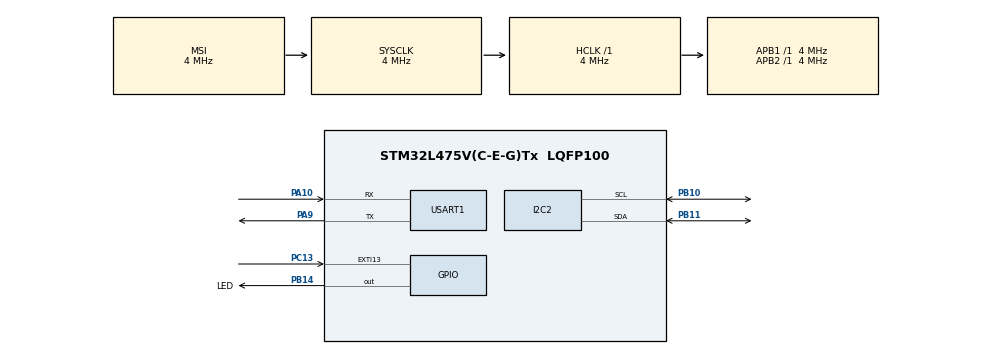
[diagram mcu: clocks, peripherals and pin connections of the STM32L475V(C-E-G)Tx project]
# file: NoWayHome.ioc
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FREERTOS.INCLUDE_vTaskDelayUntil=1
FREERTOS.Tasks01=defaultTask,0,128,StartDefaultTask,Default,NULL,Dynamic,NULL,NULL;BlinkLed,0,128,StartBlinkLed,Default,NULL,Dynamic,NULL,NULL;RnT_Sensor,-1,512,Start_RnT_Sensor,Default,NULL,Dynamic,NULL,NULL;Int_But,1,128,StartInt_But,Default,NULL,Dynamic,NULL,NULL;Fire_Fluxer,0,128,StartFire_Fluxer,Default,NULL,Dynamic,NULL,NULL;Mode_Init,0,128,StartMode_Init,Default,NULL,Dynamic,NULL,NULL
FREERTOS.configTOTAL_HEAP_SIZE=6000
FREERTOS.configUSE_NEWLIB_REENTRANT=1
Mcu.Family=STM32L4
Mcu.Name=STM32L475V(C-E-G)Tx
Mcu.Package=LQFP100
NVIC.EXTI15_10_IRQn=true\:5\:0\:false\:false\:true\:true\:true\:true\:true
NVIC.PriorityGroup=NVIC_PRIORITYGROUP_4
NVIC.TIM1_UP_TIM16_IRQn=true\:15\:0\:false\:false\:true\:false\:false\:true\:true
NVIC.TimeBase=TIM1_UP_TIM16_IRQn
NVIC.TimeBaseIP=TIM1
PA10.Mode=Asynchronous
PA10.Signal=USART1_RX
PA9.Mode=Asynchronous
PA9.Signal=USART1_TX
PB10.Mode=I2C
PB10.Signal=I2C2_SCL
PB11.Mode=I2C
PB11.Signal=I2C2_SDA
PB14.GPIO_Label=LED
PB14.Signal=GPIO_Output
PC13.Signal=GPXTI13
PC14-OSC32_IN\ (PC14).Mode=LSE-External-Oscillator
PC14-OSC32_IN\ (PC14).Signal=RCC_OSC32_IN
PC15-OSC32_OUT\ (PC15).Mode=LSE-External-Oscillator
PC15-OSC32_OUT\ (PC15).Signal=RCC_OSC32_OUT
PH0-OSC_IN\ (PH0).Mode=HSE-External-Oscillator
PH0-OSC_IN\ (PH0).Signal=RCC_OSC_IN
PH1-OSC_OUT\ (PH1).Mode=HSE-External-Oscillator
PH1-OSC_OUT\ (PH1).Signal=RCC_OSC_OUT
ProjectManager.HeapSize=0x200
ProjectManager.StackSize=0x400
ProjectManager.TargetToolchain=STM32CubeIDE
RCC.AHBFreq_Value=4000000
RCC.APB1Freq_Value=4000000
RCC.APB1TimFreq_Value=4000000
RCC.APB2Freq_Value=4000000
RCC.APB2TimFreq_Value=4000000
RCC.CortexFreq_Value=4000000
RCC.HCLKFreq_Value=4000000
RCC.HSE_VALUE=8000000
RCC.HSI_VALUE=16000000
RCC.MSI_VALUE=4000000
RCC.PLLN=16
RCC.SYSCLKFreq_VALUE=4000000
RCC.VCOOutputFreq_Value=64000000
USART1.VirtualMode-Asynchronous=VM_ASYNC
VP_FREERTOS_VS_CMSIS_V1.Mode=CMSIS_V1
VP_SYS_VS_tim1.Mode=TIM1
board=custom

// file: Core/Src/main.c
/* USER CODE BEGIN Header */
/**
 ******************************************************************************
 * @file           : main.c
 * @brief          : Main program body
 * @authors		   : Dominic Olimid (A0261190M) Ghaith Ghadri (A0260730N)
 ******************************************************************************
 * @attention
 *
 * Copyright (c) 2022 STMicroelectronics.
 * All rights reserved.
 *
 * This software is licensed under terms that can be found in the LICENSE file
 * in the root directory of this software component.
 * If no LICENSE file comes with this software, it is provided AS-IS.
 *
 ******************************************************************************
 */
/* USER CODE END Header */
#include "main.h"
#include "cmsis_os.h"

/* USER CODE BEGIN Includes */
#include "sensorIO.h"
#include "stdio.h"
#include "string.h"
#include "helper.h"
/* USER CODE END Includes */

I2C_HandleTypeDef hi2c2;

UART_HandleTypeDef huart1;

osThreadId defaultTaskHandle;
osThreadId BlinkLedHandle;
osThreadId RnT_SensorHandle;
osThreadId Int_ButHandle;
osThreadId Fire_FluxerHandle;
osThreadId Mode_InitHandle;
/* USER CODE BEGIN PV */
int mode = 0; // 0 corresponds to exploration and 1 to battle
int state = 0; // 0 corresponds to normal and 1 to warning
int button_press = 0; //1 means button has been pressed
int battery_level = 10;

TaskHandle_t Int_ButHandle = NULL;
/* USER CODE END PV */

void SystemClock_Config(void);
static void MX_GPIO_Init(void);
static void MX_I2C2_Init(void);
static void MX_USART1_UART_Init(void);
void StartDefaultTask(void const * argument);
void StartBlinkLed(void const * argument);
void Start_RnT_Sensor(void const * argument);
void StartInt_But(void const * argument);
void StartFire_Fluxer(void const * argument);
void StartMode_Init(void const * argument);

/* USER CODE BEGIN PFP */
//#ifdef __GNUC__
//#define PUTCHAR_PROTOTYPE int __io_putchar(int ch)
//#else
//#define PUTCHAR_PROTOTYPE int fputc(int ch, FILE *f)
//#endif
//
//PUTCHAR_PROTOTYPE
//{
//  HAL_UART_Transmit(&huart1, (uint8_t *)&ch, 1, HAL_MAX_DELAY);
//  return ch;
//}

/* USER CODE END PFP */

/* USER CODE BEGIN 0 */
//extern void initialise_monitor_handles(void);
/* USER CODE END 0 */

int main(void)
{
	/* USER CODE BEGIN 1 */
	//	initialise_monitor_handles();
	/* USER CODE END 1 */

	/* MCU Configuration--------------------------------------------------------*/

	/* Reset of all peripherals, Initializes the Flash interface and the Systick. */
	HAL_Init();

	/* Configure the system clock */
	SystemClock_Config();

	/* Initialize all configured peripherals */
	MX_GPIO_Init();
	MX_I2C2_Init();
	MX_USART1_UART_Init();
	/* USER CODE BEGIN 2 */
	BSP_ACCELERO_Init();
	BSP_TSENSOR_Init();
	BSP_GYRO_Init();
	BSP_PSENSOR_Init();
	BSP_MAGNETO_Init();
	BSP_HSENSOR_Init();
	/* USER CODE END 2 */

	/* Create the thread(s) */
	/* definition and creation of defaultTask */
	osThreadDef(defaultTask, StartDefaultTask, osPriorityNormal, 0, 128);
	defaultTaskHandle = osThreadCreate(osThread(defaultTask), NULL);

	/* definition and creation of BlinkLed */
	osThreadDef(BlinkLed, StartBlinkLed, osPriorityNormal, 0, 128);
	BlinkLedHandle = osThreadCreate(osThread(BlinkLed), NULL);

	/* definition and creation of RnT_Sensor */
	osThreadDef(RnT_Sensor, Start_RnT_Sensor, osPriorityBelowNormal, 0, 512);
	RnT_SensorHandle = osThreadCreate(osThread(RnT_Sensor), NULL);

	/* definition and creation of Int_But */
	osThreadDef(Int_But, StartInt_But, osPriorityAboveNormal, 0, 128);
	Int_ButHandle = osThreadCreate(osThread(Int_But), NULL);

	/* definition and creation of Fire_Fluxer */
	osThreadDef(Fire_Fluxer, StartFire_Fluxer, osPriorityNormal, 0, 128);
	Fire_FluxerHandle = osThreadCreate(osThread(Fire_Fluxer), NULL);

	/* definition and creation of Mode_Init */
	osThreadDef(Mode_Init, StartMode_Init, osPriorityNormal, 0, 128);
	Mode_InitHandle = osThreadCreate(osThread(Mode_Init), NULL);

	/* Start scheduler */
	osKernelStart();

	/* We should never get here as control is now taken by the scheduler */
	/* Infinite loop */
	while (1)
	{

	}
}

void SystemClock_Config(void)
{
	RCC_OscInitTypeDef RCC_OscInitStruct = {0};
	RCC_ClkInitTypeDef RCC_ClkInitStruct = {0};

	/** Configure the main internal regulator output voltage
	 */
	if (HAL_PWREx_ControlVoltageScaling(PWR_REGULATOR_VOLTAGE_SCALE1) != HAL_OK)
	{
		Error_Handler();
	}

	/** Configure LSE Drive Capability
	 */
	HAL_PWR_EnableBkUpAccess();
	__HAL_RCC_LSEDRIVE_CONFIG(RCC_LSEDRIVE_LOW);

	/** Initializes the RCC Oscillators according to the specified parameters
	 * in the RCC_OscInitTypeDef structure.
	 */
	RCC_OscInitStruct.OscillatorType = RCC_OSCILLATORTYPE_LSE|RCC_OSCILLATORTYPE_MSI;
	RCC_OscInitStruct.LSEState = RCC_LSE_ON;
	RCC_OscInitStruct.MSIState = RCC_MSI_ON;
	RCC_OscInitStruct.MSICalibrationValue = 0;
	RCC_OscInitStruct.MSIClockRange = RCC_MSIRANGE_6;
	RCC_OscInitStruct.PLL.PLLState = RCC_PLL_NONE;
	if (HAL_RCC_OscConfig(&RCC_OscInitStruct) != HAL_OK)
	{
		Error_Handler();
	}

	/** Initializes the CPU, AHB and APB buses clocks
	 */
	RCC_ClkInitStruct.ClockType = RCC_CLOCKTYPE_HCLK|RCC_CLOCKTYPE_SYSCLK
			|RCC_CLOCKTYPE_PCLK1|RCC_CLOCKTYPE_PCLK2;
	RCC_ClkInitStruct.SYSCLKSource = RCC_SYSCLKSOURCE_MSI;
	RCC_ClkInitStruct.AHBCLKDivider = RCC_SYSCLK_DIV1;
	RCC_ClkInitStruct.APB1CLKDivider = RCC_HCLK_DIV1;
	RCC_ClkInitStruct.APB2CLKDivider = RCC_HCLK_DIV1;

	if (HAL_RCC_ClockConfig(&RCC_ClkInitStruct, FLASH_LATENCY_0) != HAL_OK)
	{
		Error_Handler();
	}

	/** Enable MSI Auto calibration
	 */
	HAL_RCCEx_EnableMSIPLLMode();
}

static void MX_I2C2_Init(void)
{

	hi2c2.Instance = I2C2;
	hi2c2.Init.Timing = 0x00000E14;
	hi2c2.Init.OwnAddress1 = 0;
	hi2c2.Init.AddressingMode = I2C_ADDRESSINGMODE_7BIT;
	hi2c2.Init.DualAddressMode = I2C_DUALADDRESS_DISABLE;
	hi2c2.Init.OwnAddress2 = 0;
	hi2c2.Init.OwnAddress2Masks = I2C_OA2_NOMASK;
	hi2c2.Init.GeneralCallMode = I2C_GENERALCALL_DISABLE;
	hi2c2.Init.NoStretchMode = I2C_NOSTRETCH_DISABLE;
	if (HAL_I2C_Init(&hi2c2) != HAL_OK)
	{
		Error_Handler();
	}

	/** Configure Analogue filter
	 */
	if (HAL_I2CEx_ConfigAnalogFilter(&hi2c2, I2C_ANALOGFILTER_ENABLE) != HAL_OK)
	{
		Error_Handler();
	}

	/** Configure Digital filter
	 */
	if (HAL_I2CEx_ConfigDigitalFilter(&hi2c2, 0) != HAL_OK)
	{
		Error_Handler();
	}

}

static void MX_USART1_UART_Init(void)
{

	/* USER CODE BEGIN USART1_Init 0 */
	//    __HAL_RCC_GPIOB_CLK_ENABLE();
	GPIO_InitTypeDef GPIO_InitStruct = {0};
	GPIO_InitStruct.Alternate = GPIO_AF7_USART1;
	GPIO_InitStruct.Pin = GPIO_PIN_7|GPIO_PIN_6;
	GPIO_InitStruct.Mode = GPIO_MODE_AF_PP;
	GPIO_InitStruct.Pull = GPIO_NOPULL;
	GPIO_InitStruct.Speed = GPIO_SPEED_FREQ_VERY_HIGH;
	HAL_GPIO_Init(GPIOB, &GPIO_InitStruct);
	/* USER CODE END USART1_Init 0 */

	huart1.Instance = USART1;
	huart1.Init.BaudRate = 115200;
	huart1.Init.WordLength = UART_WORDLENGTH_8B;
	huart1.Init.StopBits = UART_STOPBITS_1;
	huart1.Init.Parity = UART_PARITY_NONE;
	huart1.Init.Mode = UART_MODE_TX_RX;
	huart1.Init.HwFlowCtl = UART_HWCONTROL_NONE;
	huart1.Init.OverSampling = UART_OVERSAMPLING_16;
	huart1.Init.OneBitSampling = UART_ONE_BIT_SAMPLE_DISABLE;
	huart1.AdvancedInit.AdvFeatureInit = UART_ADVFEATURE_NO_INIT;
	if (HAL_UART_Init(&huart1) != HAL_OK)
	{
		Error_Handler();
	}

}

static void MX_GPIO_Init(void)
{
	GPIO_InitTypeDef GPIO_InitStruct = {0};

	/* GPIO Ports Clock Enable */
	__HAL_RCC_GPIOC_CLK_ENABLE();
	__HAL_RCC_GPIOH_CLK_ENABLE();
	__HAL_RCC_GPIOB_CLK_ENABLE();
	__HAL_RCC_GPIOA_CLK_ENABLE();

	/*Configure GPIO pin Output Level */
	HAL_GPIO_WritePin(LED_GPIO_Port, LED_Pin, GPIO_PIN_RESET);

	/*Configure GPIO pin : PC13 */
	GPIO_InitStruct.Pin = GPIO_PIN_13;
	GPIO_InitStruct.Mode = GPIO_MODE_IT_RISING;
	GPIO_InitStruct.Pull = GPIO_NOPULL;
	HAL_GPIO_Init(GPIOC, &GPIO_InitStruct);

	/*Configure GPIO pin : LED_Pin */
	GPIO_InitStruct.Pin = LED_Pin;
	GPIO_InitStruct.Mode = GPIO_MODE_OUTPUT_PP;
	GPIO_InitStruct.Pull = GPIO_NOPULL;
	GPIO_InitStruct.Speed = GPIO_SPEED_FREQ_LOW;
	HAL_GPIO_Init(LED_GPIO_Port, &GPIO_InitStruct);

	/* EXTI interrupt init*/
	HAL_NVIC_SetPriority(EXTI15_10_IRQn, 5, 0);
	HAL_NVIC_EnableIRQ(EXTI15_10_IRQn);

}

void StartDefaultTask(void const * argument)
{
	/* USER CODE BEGIN 5 */
	const portTickType freq_button_sleep = 1200;
	/* Infinite loop */
	for(;;)
	{
		if(button_press > 0)
		{
			vTaskDelay(freq_button_sleep);
			vTaskResume(Int_ButHandle);
		}
		vTaskSuspend(NULL);
	}
	/* USER CODE END 5 */
}

void StartBlinkLed(void const * argument)
{
	/* USER CODE BEGIN StartBlinkLed */
	portTickType lastRun;
	const portTickType frequency_battle = 500;
	const portTickType frequency_warning = 166;
	lastRun = xTaskGetTickCount();
	/* Infinite loop */
	for(;;)
	{
		if(mode == 1 && state == 0)
		{
			HAL_GPIO_TogglePin(GPIOB, LED_Pin);
			vTaskDelayUntil(&lastRun,frequency_battle);
		}
		else if(state == 1)
		{
			HAL_GPIO_TogglePin(GPIOB, LED_Pin);
			vTaskDelayUntil(&lastRun,frequency_warning);
		}
		else
		{
			HAL_GPIO_WritePin(GPIOB, LED_Pin, GPIO_PIN_SET);
			vTaskDelayUntil(&lastRun,frequency_warning);
		}

	}
	/* USER CODE END StartBlinkLed */
}

void Start_RnT_Sensor(void const * argument)
{
	/* USER CODE BEGIN Start_RnT_Sensor */
	portTickType lastRun;
	const portTickType frequency_transmit = 1000;
	lastRun = xTaskGetTickCount();

	char message_exploration[90];
	char message_battle1[64];
	char message_battle2[90];
	char message_warning[32];
	char message_battery[32];

	float accel_data[3];
	float mag_data[3];
	float gyro_data[3];
	float temp_data[1];
	float pres_data[1];
	float hum_data[1];

	int threshold_status[6] = {0};
	int nb_exceeded[1] = {0};
	float threshold_values[6] = {20, 500, 100, 15, 1013, 35};

	/* Infinite loop */
	for(;;)
	{
		if(mode == 0 && state == 0)
		{
			Read_Gyro(gyro_data);
			Read_Hum(hum_data);
			Read_Mag(mag_data);
			Read_Pres(pres_data);

			sprintf(message_exploration, "Gz: %2.2f(deg/s), Mx: %2.2f (g), My: %2.2f (g), P: %2.2f (hPa), H: %2.2f (%%rH)\r\n", gyro_data[2], mag_data[0], mag_data[1], pres_data[0], hum_data[0]);
			HAL_UART_Transmit(&huart1, (uint8_t*)message_exploration, strlen(message_exploration), 0xFF);

			float sensor_reading[6] = {0, gyro_data[2], hum_data[0], mag_data[2], pres_data[0], 0};
			Check_Threshold(nb_exceeded, sensor_reading, threshold_values, threshold_status);

			if(nb_exceeded[0] >= 2)
			{
				state = 1;
				nb_exceeded[0]=0;
				memset(threshold_status, 0, sizeof(threshold_status));
			}

			vTaskDelayUntil(&lastRun,frequency_transmit);

		}
		else if(mode == 1 && state == 0)
		{
			Read_Acc(accel_data);
			Read_Gyro(gyro_data);
			Read_Hum(hum_data);
			Read_Mag(mag_data);
			Read_Pres(pres_data);
			Read_Temp(temp_data);

			sprintf(message_battle1, "T:%2.2f (deg C), P: %2.2f (hPa), H: %2.2f (%%rH), ", temp_data[0],  pres_data[0],  hum_data[0]);
			HAL_UART_Transmit(&huart1, (uint8_t*)message_battle1, strlen(message_battle1), 0xFFFF);
			sprintf(message_battle2, "Az: %2.2f (m/s^2), Gz: %2.2f(deg/s), Mx: %2.2f (g), My: %2.2f (g)\r", accel_data[2], gyro_data[2], mag_data[0], mag_data[1]);
			HAL_UART_Transmit(&huart1, (uint8_t*)message_battle2, strlen(message_battle2), 0xFFFF);
			sprintf(message_battery, "Battery level: %d/10\r\n", battery_level);
			HAL_UART_Transmit(&huart1, (uint8_t*)message_battery, strlen(message_battery), 0xFFFF);

			float sensor_reading[6] = {accel_data[2], gyro_data[2], hum_data[0], mag_data[2], pres_data[0], temp_data[0]};
			Check_Threshold(nb_exceeded, sensor_reading, threshold_values, threshold_status);

			if(nb_exceeded[0] >= 1)
			{
				state = 1;
				nb_exceeded[0]=0;
				memset(threshold_status, 0, sizeof(threshold_status));
			}

			vTaskDelayUntil(&lastRun,frequency_transmit);
		}
		else
		{
			if(mode == 0)
			{
				sprintf(message_warning, "WARNING mode: SOS\r\n");
			}
			else
			{
				sprintf(message_warning, "BATTLE mode: SOS\r\n");
			}

			HAL_UART_Transmit(&huart1, (uint8_t*)message_warning, strlen(message_warning), 0xFFFF);
			vTaskDelayUntil(&lastRun,frequency_transmit);
		}
	}
	/* USER CODE END Start_RnT_Sensor */
}

void StartInt_But(void const * argument)
{
	/* USER CODE BEGIN StartInt_But */
	portTickType lastRun;
	lastRun = 0;
	/* Infinite loop */
	for(;;)
	{
		vTaskSuspend(NULL);
		if((xTaskGetTickCount() - lastRun) > 1000)
		{
			if(button_press == 0)
			{
				button_press = 1;
				lastRun = xTaskGetTickCount();
				vTaskResume(defaultTaskHandle);
			}
			else if(button_press == 1 && state == 1)
			{
				state = 0;
				button_press = 0;
			}
			else if(button_press == 2 && state == 0)
			{
				mode = !mode;
				button_press = 0;
				vTaskResume(Mode_InitHandle);
			}
			else if(button_press == 1 && state == 0 && battery_level < 10)
			{
				battery_level += 1;
			}
			else
			{
				button_press = 0;
			}
		}
		else
		{
			button_press += 1;
		}
	}
	/* USER CODE END StartInt_But */
}

void StartFire_Fluxer(void const * argument)
{
	/* USER CODE BEGIN StartFire_Fluxer */
	portTickType lastRun;
	const portTickType frequency_fire = 5000;
	lastRun = xTaskGetTickCount();

	char message_fluxer[40];
	sprintf(message_fluxer, "Fluxer is fired! Death to the Zurks!\r\n");

	/* Infinite loop */
	for(;;)
	{
		if(battery_level > 1 && mode == 1 && state == 0)
		{
			HAL_UART_Transmit(&huart1, (uint8_t*)message_fluxer, strlen(message_fluxer), 0xFFFF);
			battery_level -= 2;
		}
		vTaskDelayUntil(&lastRun,frequency_fire);
	}
	/* USER CODE END StartFire_Fluxer */
}

void StartMode_Init(void const * argument)
{
	/* USER CODE BEGIN StartMode_Init */
	char message_start[32];
	/* Infinite loop */
	for(;;)
	{
		if(mode == 0)
		{
			sprintf(message_start, "Entering exploration mode\r\n");
		}
		else if(mode == 1)
		{
			sprintf(message_start, "Entering battle mode\r\n");
		}
		HAL_UART_Transmit(&huart1, (uint8_t*)message_start, strlen(message_start), 0xFFFF);
		vTaskSuspend(NULL);
	}
	/* USER CODE END StartMode_Init */
}

void HAL_TIM_PeriodElapsedCallback(TIM_HandleTypeDef *htim)
{
	if (htim->Instance == TIM1) {
		HAL_IncTick();
	}
}

void Error_Handler(void)
{
	__disable_irq();
	while (1)
	{
	}
}
